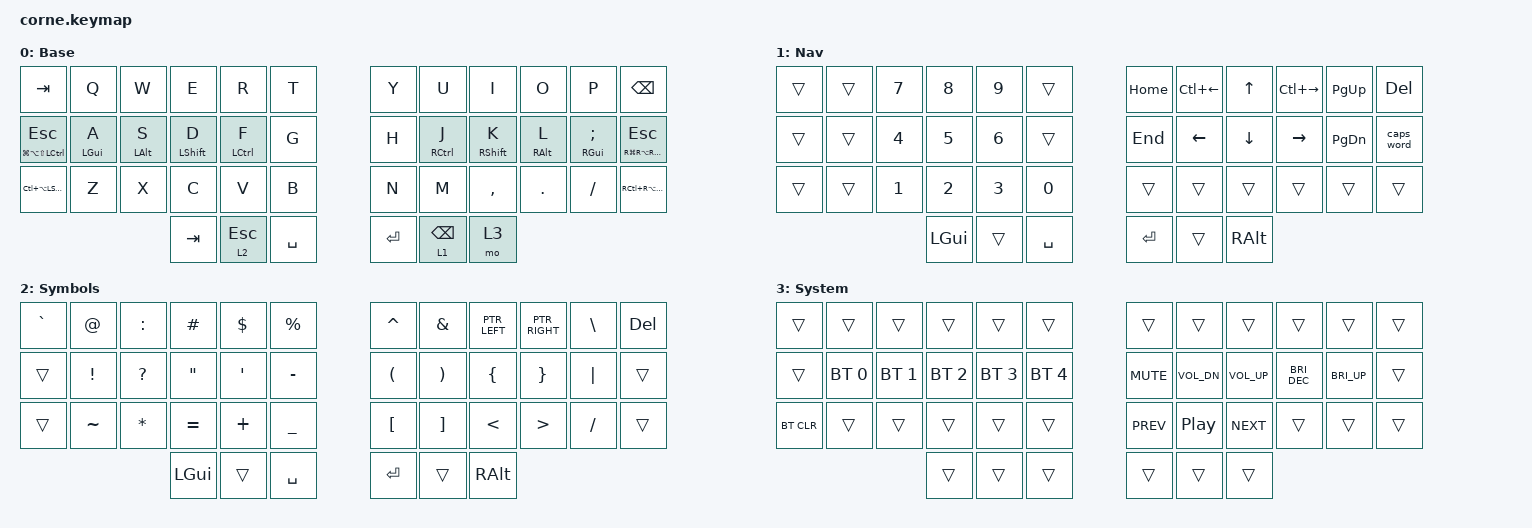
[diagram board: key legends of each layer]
/*
 * Copyright (c) 2020 The ZMK Contributors
 *
 * SPDX-License-Identifier: MIT
 */

#include <behaviors.dtsi>
#include <dt-bindings/zmk/bt.h>
#include <dt-bindings/zmk/keys.h>

/* Corne 42-key position map, used by hold-trigger-key-positions below.
 *
 *   0  1  2  3  4  5      6  7  8  9 10 11
 *  12 13 14 15 16 17     18 19 20 21 22 23
 *  24 25 26 27 28 29     30 31 32 33 34 35
 *          36 37 38     39 40 41
 */

#define LEFT_KEYS   0  1  2  3  4  5 12 13 14 15 16 17 24 25 26 27 28 29
#define RIGHT_KEYS  6  7  8  9 10 11 18 19 20 21 22 23 30 31 32 33 34 35
#define THUMB_KEYS 36 37 38 39 40 41

/* Thumb layer-taps.
 *
 * The built-in &lt is "tap-preferred", which only resolves to the hold after
 * the full tapping-term has expired: rolling thumb -> key faster than 200ms
 * would emit the tap instead of the layer. "balanced" resolves to the hold as
 * soon as another key is pressed *and* released, which is what a thumb needs.
 *
 * quick-tap-ms lets a tap-then-hold repeat the tap, so holding the right thumb
 * right after tapping it deletes continuously instead of opening the Nav layer.
 *
 * Deliberately no require-prior-idle-ms here: unlike a home row mod, a thumb is
 * legitimately pressed immediately after a letter (type a word, then reach for
 * the symbol layer), and suppressing the hold there would emit ESC/BSPC instead.
 */

&lt {
    flavor = "balanced";
    tapping-term-ms = <200>;
    quick-tap-ms = <175>;
};

/ {
    behaviors {
        /* Home row mods, split left/right so that positional hold-tap can force
         * cross-hand combinations: a left-hand mod only engages when the other
         * key comes from the right hand (or a thumb), and vice versa. This is
         * what kills same-hand false positives like rolling "df" into Ctrl+F.
         *
         * require-prior-idle-ms suppresses the hold entirely when the key comes
         * right after another keystroke, i.e. while you are actually typing.
         */

        hml: home_row_mod_left {
            compatible = "zmk,behavior-hold-tap";
            #binding-cells = <2>;
            flavor = "balanced";
            tapping-term-ms = <200>;
            quick-tap-ms = <175>;
            require-prior-idle-ms = <150>;
            bindings = <&kp>, <&kp>;

            hold-trigger-key-positions = <RIGHT_KEYS THUMB_KEYS>;
            hold-trigger-on-release;
        };

        hmr: home_row_mod_right {
            compatible = "zmk,behavior-hold-tap";
            #binding-cells = <2>;
            flavor = "balanced";
            tapping-term-ms = <200>;
            quick-tap-ms = <175>;
            require-prior-idle-ms = <150>;
            bindings = <&kp>, <&kp>;

            hold-trigger-key-positions = <LEFT_KEYS THUMB_KEYS>;
            hold-trigger-on-release;
        };
    };

    conditional_layers {
        compatible = "zmk,conditional-layers";

        system {
            if-layers = <1 2>;
            then-layer = <3>;
        };
    };

    macros {
        PTR_RIGHT: PTR_RIGHT {
            compatible = "zmk,behavior-macro";
            #binding-cells = <0>;
            bindings = <&kp MINUS &kp GREATER_THAN>;
            label = "PTR_RIGHT";
        };

        PTR_LEFT: PTR_LEFT {
            compatible = "zmk,behavior-macro";
            #binding-cells = <0>;
            bindings = <&kp LESS_THAN &kp MINUS>;
            label = "PTR_LEFT";
        };

        TRIPLE_QUOTE: TRIPLE_QUOTE {
            compatible = "zmk,behavior-macro";
            #binding-cells = <0>;
            bindings = <&kp DOUBLE_QUOTES &kp DOUBLE_QUOTES &kp DOUBLE_QUOTES>;
            label = "TRIPLE_QUOTE";
        };
    };

    keymap {
        compatible = "zmk,keymap";

        Base {
            display-name = "Base";

            // ----------------------------------------------------------------------------------------------
            // |  TAB    |  Q  |  W  |  E  |  R  |  T  |   |  Y  |  U  |  I  |  O  |  P  |  BSPC   |
            // | HYP/ESC |  A  |  S  |  D  |  F  |  G  |   |  H  |  J  |  K  |  L  |  ;  | HYP/ESC |
            // | LSHFT   |  Z  |  X  |  C  |  V  |  B  |   |  N  |  M  |  ,  |  .  |  /  | RSHFT   |
            //                 | GUI | SYM/ESC | SPC |   | RET | NAV/BSPC | FR |
            //
            // Home row: A/; = GUI, S/L = ALT, D/K = SHIFT, F/J = CTRL (on hold).

            bindings = <
&kp TAB                       &kp Q            &kp W            &kp E              &kp R                &kp T        &kp Y    &kp U                 &kp I               &kp O             &kp P                &kp BSPC
&mt LG(LA(LS(LCTRL))) ESCAPE  &hml LEFT_GUI A  &hml LEFT_ALT S  &hml LEFT_SHIFT D  &hml LEFT_CONTROL F  &kp G        &kp H    &hmr RIGHT_CONTROL J  &hmr RIGHT_SHIFT K  &hmr RIGHT_ALT L  &hmr RIGHT_GUI SEMI  &mt RG(RA(RS(RCTRL))) ESCAPE
&kp LC(LA(LSHFT))             &kp Z            &kp X            &kp C              &kp V                &kp B        &kp N    &kp M                 &kp COMMA           &kp DOT           &kp FSLH             &kp RC(RA(RSHFT))
                                                                &kp TAB            &lt 2 ESCAPE         &kp SPACE    &kp RET  &lt 1 BSPC            &mo 3
            >;
        };

        Nav {
            display-name = "Nav";

            // -----------------------------------------------------------------------------------------
            // |      |     |  7  |  8  |  9  |     |   | HOME| C-LFT|  UP | C-RGT| PGUP | BSPC   |
            // |      |     |  4  |  5  |  6  |     |   | END | LEFT | DOWN| RIGHT| PGDN | CAPSWD |
            // |      |     |  1  |  2  |  3  |  0  |   |     |      |     |      |      |        |
            //                    | GUI |     | SPC |   | ENT |     | ALT |
            //
            // Bluetooth moved to the System layer. The blank left-hand keys are
            // transparent and fall through to Base: ESC/Hyper, the A and S home
            // row mods, and Meh. Shifted text selection is easier than it was
            // while the BT keys shadowed them.

            bindings = <
&trans  &trans  &kp NUMBER_7  &kp NUMBER_8  &kp NUMBER_9  &trans          &kp HOME  &kp LC(LEFT)  &kp UP    &kp LC(RIGHT_ARROW)  &kp PAGE_UP    &kp DEL
&trans  &trans  &kp NUMBER_4  &kp NUMBER_5  &kp NUMBER_6  &trans          &kp END   &kp LEFT      &kp DOWN  &kp RIGHT            &kp PAGE_DOWN  &caps_word
&trans  &trans  &kp NUMBER_1  &kp NUMBER_2  &kp NUMBER_3  &kp NUMBER_0    &trans    &trans        &trans    &trans               &trans         &trans
                              &kp LGUI      &trans        &kp SPACE       &kp RET   &trans        &kp RALT
            >;
        };

        Symbols {
            display-name = "Symbols";

            // -----------------------------------------------------------------------------------------
            // |  TAB |  !  |  @  |  #  |  $  |  %  |   |  ^  |  &  |  *  |  (  |  )  | BSPC |
            // | CTRL |     |     |     |     |     |   |  -  |  =  |  [  |  ]  |  \  |  `   |
            // | SHFT |     |     |     |     |     |   |  _  |  +  |  {  |  }  | "|" |  ~   |
            //                    | GUI |     | SPC |   | ENT |     | ALT |

            bindings = <
&kp GRAVE  &kp AT_SIGN      &kp COLON     &kp HASH           &kp DLLR  &kp PRCNT         &kp CARET             &kp AMPS               &PTR_LEFT       &PTR_RIGHT        &kp BACKSLASH  &kp DEL
&trans     &kp EXCLAMATION  &kp QUESTION  &kp DOUBLE_QUOTES  &kp SQT   &kp MINUS         &kp LEFT_PARENTHESIS  &kp RIGHT_PARENTHESIS  &kp LEFT_BRACE  &kp RIGHT_BRACE   &kp PIPE       &trans
&trans     &kp TILDE        &kp ASTERISK  &kp EQUAL          &kp PLUS  &kp UNDERSCORE    &kp LEFT_BRACKET      &kp RIGHT_BRACKET      &kp LESS_THAN   &kp GREATER_THAN  &kp SLASH      &trans
                                          &kp LGUI           &trans    &kp SPACE         &kp RET               &trans                 &kp RALT
            >;
        };

        System {
            display-name = "System";

            // Right outer thumb, or both thumb layer keys at once (Nav + Symbols).
            // ----------------------------------------------------------------------------------------------
            // |      | BT0 | BT1 | BT2 | BT3 | BT4 |   | MUTE | VOL- | VOL+ | BRI- | BRI+ |     |
            // |      |     |     |     |     |     |   | PREV | PLAY | NEXT |      |      |     |
            // | BTCLR|     |     |     |     |     |   |      |      |      |      |      |     |
            //
            // BT0-BT4 select a Bluetooth profile, left to right. BTCLR sits in
            // the far corner, away from them, since it clears the pairing.

            bindings = <
&trans      &trans        &trans        &trans        &trans        &trans          &trans      &trans        &trans        &trans         &trans        &trans
&trans      &bt BT_SEL 0  &bt BT_SEL 1  &bt BT_SEL 2  &bt BT_SEL 3  &bt BT_SEL 4    &kp C_MUTE  &kp C_VOL_DN  &kp C_VOL_UP  &kp C_BRI_DEC  &kp C_BRI_UP  &trans
&bt BT_CLR  &trans        &trans        &trans        &trans        &trans          &kp C_PREV  &kp C_PP      &kp C_NEXT    &trans         &trans        &trans
                                        &trans        &trans        &trans          &trans      &trans        &trans
            >;
        };
    };
};
